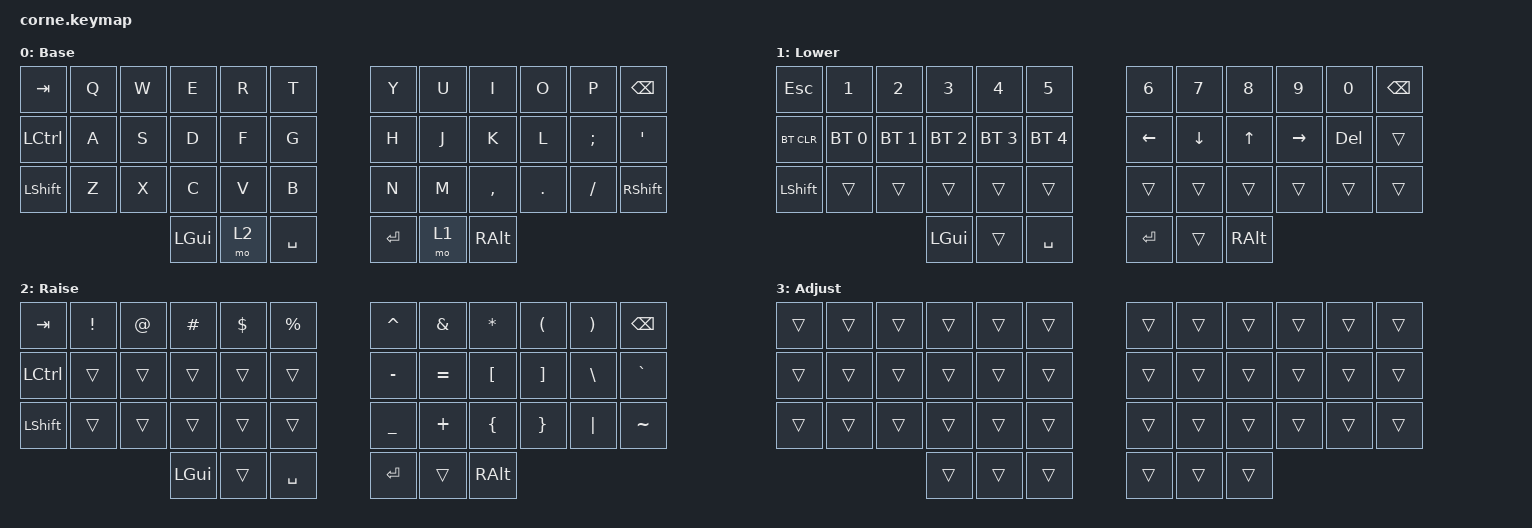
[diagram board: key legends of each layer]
/*
 * Copyright (c) 2020 The ZMK Contributors
 *
 * SPDX-License-Identifier: MIT
 */

#include <behaviors.dtsi>
#include <dt-bindings/zmk/bt.h>
#include <dt-bindings/zmk/keys.h>

&nice_view_spi { cs-gpios = <&pro_micro 8 GPIO_ACTIVE_HIGH>; };

/ {
    combos {
        compatible = "zmk,combos";

        unlock {
            bindings = <&unlock>;
            key-positions = <32 33>;
            layers = <1>;
        };
    };

    macros {
		unlock: unlock {
			compatible = "zmk,behavior-macro";
			#binding-cells = <0>;
			bindings
				= <&macro_press &kp LCTRL &kp LALT>
				, <&macro_tap &kp DELETE>
				, <&macro_release &kp LCTRL &kp LALT>;
            label = "UNLOCK";
		};
    };
    


    behaviors {
        hml: homewrow_mods_left {
            compatible = "zmk,behavior-hold-tap";
            label = "HOMEROW_MODS_LEFT_HAND";
            bindings = <&kp>, <&kp>;

            #binding-cells = <2>;
            tapping-term-ms = <200>;
            hold-trigger-key-positions = <6 7 8 9 10 11 23 22 20 21 19 18 30 31 32 33 34 35 41 40 39>;
        };

        hmr: homewrow_mods_right {
            compatible = "zmk,behavior-hold-tap";
            label = "HOMEROW_MODS_RIGHT_HAND";
            bindings = <&kp>, <&kp>;

            #binding-cells = <2>;
            tapping-term-ms = <200>;
            hold-trigger-key-positions = <0 1 2 3 5 12 13 14 15 16 17 24 25 26 28 29 36 37 38 27 4>;
        };
    };

    keymap {
        compatible = "zmk,keymap";

        default_layer {
            display-name = "Base";
            // -----------------------------------------------------------------------------------------
            // |  TAB |  Q  |  W  |  E  |  R  |  T  |   |  Y  |  U   |  I  |  O  |  P  | BSPC |
            // | CTRL |  A  |  S  |  D  |  F  |  G  |   |  H  |  J   |  K  |  L  |  ;  |  '   |
            // | SHFT |  Z  |  X  |  C  |  V  |  B  |   |  N  |  M   |  ,  |  .  |  /  | SHFT |
            //                    | GUI | LWR | SPC |   | ENT | RSE  | ALT |

            bindings = <
&kp TAB    &kp Q  &kp W  &kp E     &kp R  &kp T        &kp Y    &kp U  &kp I      &kp O    &kp P     &kp BSPC
&kp LCTRL  &kp A  &kp S  &kp D     &kp F  &kp G        &kp H    &kp J  &kp K      &kp L    &kp SEMI  &kp SQT
&kp LSHFT  &kp Z  &kp X  &kp C     &kp V  &kp B        &kp N    &kp M  &kp COMMA  &kp DOT  &kp FSLH  &kp RSHFT
                         &kp LGUI  &mo 2  &kp SPACE    &kp RET  &mo 1  &kp RALT
            >;
        };

        lower_layer {
            display-name = "Lower";
            // -----------------------------------------------------------------------------------------
            // |  ESC |  1  |  2  |  3  |  4  |  5  |   |  6  |  7  |  8  |  9  |  0  | BSPC |
            // | BTCLR| BT1 | BT2 | BT3 | BT4 | BT5 |   | LFT | DWN |  UP | RGT | DEL |      |
            // | SHFT |     |     |     |     |     |   |     |     |     |     |     |      |
            //                    | GUI |     | SPC |   | ENT |     | ALT |

            bindings = <
&kp ESC     &kp N1        &kp N2        &kp N3        &kp N4        &kp N5          &kp N6    &kp N7    &kp N8    &kp N9     &kp N0      &kp BSPC
&bt BT_CLR  &bt BT_SEL 0  &bt BT_SEL 1  &bt BT_SEL 2  &bt BT_SEL 3  &bt BT_SEL 4    &kp LEFT  &kp DOWN  &kp UP    &kp RIGHT  &kp DELETE  &trans
&kp LSHFT   &trans        &trans        &trans        &trans        &trans          &trans    &trans    &trans    &trans     &trans      &trans
                                        &kp LGUI      &trans        &kp SPACE       &kp RET   &trans    &kp RALT
            >;
        };

        raise_layer {
            display-name = "Raise";
            // -----------------------------------------------------------------------------------------
            // |  TAB |  !  |  @  |  #  |  $  |  %  |   |  ^  |  &  |  *  |  (  |  )  | BSPC |
            // | CTRL |     |     |     |     |     |   |  -  |  =  |  [  |  ]  |  \  |  `   |
            // | SHFT |     |     |     |     |     |   |  _  |  +  |  {  |  }  | "|" |  ~   |
            //                    | GUI |     | SPC |   | ENT |     | ALT |

            bindings = <
&kp TAB    &kp EXCL  &kp AT  &kp HASH  &kp DLLR  &kp PRCNT    &kp CARET  &kp AMPS   &kp ASTRK  &kp LPAR  &kp RPAR  &kp BSPC
&kp LCTRL  &trans    &trans  &trans    &trans    &trans       &kp MINUS  &kp EQUAL  &kp LBKT   &kp RBKT  &kp BSLH  &kp GRAVE
&kp LSHFT  &trans    &trans  &trans    &trans    &trans       &kp UNDER  &kp PLUS   &kp LBRC   &kp RBRC  &kp PIPE  &kp TILDE
                             &kp LGUI  &trans    &kp SPACE    &kp RET    &trans     &kp RALT
            >;
        };

        layer_3 {
            display-name = "Adjust";
            bindings = <
&trans  &trans  &trans  &trans  &trans  &trans    &trans  &trans  &trans  &trans  &trans  &trans
&trans  &trans  &trans  &trans  &trans  &trans    &trans  &trans  &trans  &trans  &trans  &trans
&trans  &trans  &trans  &trans  &trans  &trans    &trans  &trans  &trans  &trans  &trans  &trans
                        &trans  &trans  &trans    &trans  &trans  &trans
            >;
        };
    };

    conditional_layers {
        compatible = "zmk,conditional-layers";

        third_layer {
            if-layers = <1 2>;
            then-layer = <3>;
        };
    };
};
